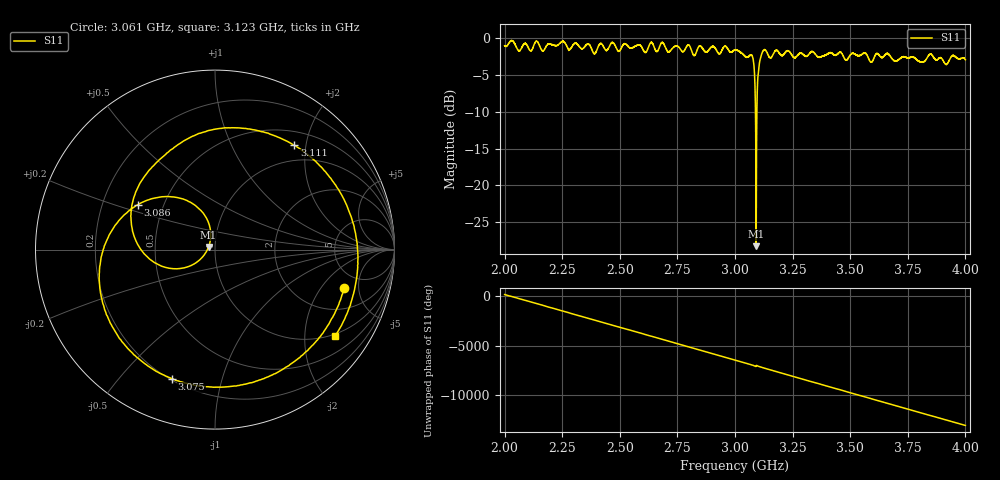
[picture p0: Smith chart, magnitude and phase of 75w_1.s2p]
!Agilent Technologies,E8362B,MY43021131,A.07.50.67
!Agilent E8362B: A.07.50.67
!Date: Thursday, March 14, 2024 13:31:06
!Correction: S11(Off)
!S21(Off)
!S12(Off)
!S22(Off)
!S2P File: Measurements: S11, S21, S12, S22:
# Hz S  RI  R 50
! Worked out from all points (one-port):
!   20001 points, 2 GHz to 4 GHz, reference 50 ohm
!   lowest |S11| = -28.2 dB at 3.092 GHz (marker M1), VSWR 1.08, Z = 46.5 + j1.32 ohm
!   |S11| at or under -10 dB: 3.088886 GHz to 3.094961 GHz (6.075 MHz wide, 0.196 % of centre)
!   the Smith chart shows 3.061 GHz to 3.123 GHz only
!   S11 on the Smith chart (normalised r, x): 3.061 GHz: 3.51, -3.46; 3.075 GHz: 0.21, -0.70; 3.086 GHz: 0.36, +0.24; 3.111 GHz: 0.72, +1.79; 3.123 GHz: 0.94, -2.83
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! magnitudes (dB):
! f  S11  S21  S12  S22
! 2 GHz  -1.0  -  -  -
! 2.167 GHz  -1.8  -  -  -
! 2.252 GHz  -0.4  -  -  -
! 2.333 GHz  -1.4  -  -  -
! 2.667 GHz  -1.6  -  -  -
! 3 GHz  -1.6  -  -  -
! 3.061 GHz  -2.5  -  -  -
! 3.075 GHz  -2.4  -  -  -
! 3.08 GHz  -3.0  -  -  -
! 3.086 GHz  -6.1  -  -  -
! 3.092 GHz  -28.2  -  -  -
! 3.099 GHz  -5.5  -  -  -
! 3.104 GHz  -3.9  -  -  -
! 3.111 GHz  -2.7  -  -  -
! 3.123 GHz  -1.7  -  -  -
! 3.333 GHz  -1.8  -  -  -
! 3.483 GHz  -3.0  -  -  -
! 3.562 GHz  -2.0  -  -  -
! 3.591 GHz  -3.3  -  -  -
! 3.667 GHz  -2.2  -  -  -
! 3.697 GHz  -3.1  -  -  -
! 4 GHz  -3.0  -  -  -
